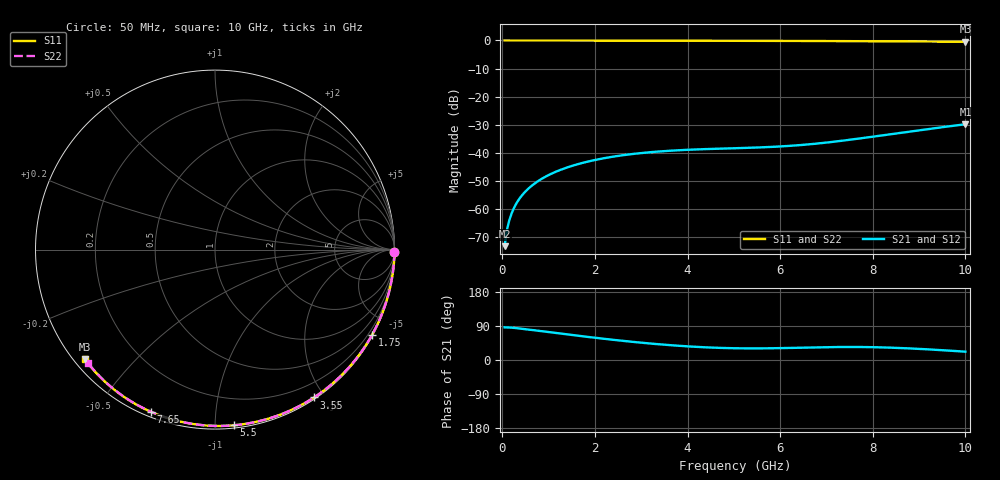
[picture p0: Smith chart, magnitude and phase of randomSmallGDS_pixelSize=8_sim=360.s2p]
! freq	dB(S11)	phase(S11)	dB(S12)	phase(S12)
!  dB(S21)	phase(S21)	dB(S22)	phase(S22)
!S-par simulation data
#  GHz  S  DB  R 50
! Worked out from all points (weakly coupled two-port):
!   200 points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, 50 MHz to 10 GHz, reference 50 ohm
!   highest |S21| = -29.88 dB at 10 GHz (marker M1); lowest = -73.3 dB at 50 MHz (marker M2)
!   lowest |S11| = -0.5 dB at 10 GHz (marker M3), VSWR 37.57, Z = 1.51 - j18.2 ohm
!   |S11| at or under -10 dB: nowhere
!   |S22| runs from -0.5 to 0.0 dB; largest |S21 - S12| = 0
!   S11 on the Smith chart (normalised r, x): 50 MHz: open; 1.75 GHz: 0.03, -3.95; 3.55 GHz: 0.02, -1.87; 5.5 GHz: 0.02, -1.11; 7.65 GHz: 0.02, -0.68; 10 GHz: 0.03, -0.36
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0.05  -0.00 -0.8  -73.34 86.1  -73.34 86.1  -0.00 -0.8
0.1  -0.00 -1.7  -67.59 85.9  -67.59 85.9  -0.00 -1.6
0.15  -0.00 -2.5  -64.17 85.7  -64.17 85.7  -0.00 -2.4
0.2  -0.00 -3.3  -61.71 85.3  -61.71 85.3  -0.00 -3.3
0.25  -0.00 -4.1  -59.79 84.8  -59.79 84.8  -0.00 -4.1
0.35  -0.00 -5.8  -56.90 83.5  -56.90 83.5  -0.00 -5.7
0.5  -0.01 -8.2  -53.84 81.3  -53.84 81.3  -0.01 -8.1
0.7  -0.01 -11.5  -50.98 78.3  -50.98 78.3  -0.01 -11.3
1  -0.02 -16.4  -47.99 73.7  -47.99 73.7  -0.02 -16.2
1.35  -0.03 -22.0  -45.56 68.3  -45.56 68.3  -0.03 -21.7
1.75  -0.04 -28.4  -43.58 62.3  -43.58 62.3  -0.04 -28.0
2.5  -0.05 -40.2  -41.16 51.9  -41.16 51.9  -0.05 -39.7
3.4  -0.07 -53.9  -39.56 41.3  -39.56 41.3  -0.07 -53.2
3.55  -0.08 -56.2  -39.39 39.8  -39.39 39.8  -0.07 -55.4
4.3  -0.09 -67.1  -38.78 34.0  -38.78 34.0  -0.09 -66.2
5.05  -0.12 -77.7  -38.41 31.0  -38.41 31.0  -0.12 -76.7
5.5  -0.13 -83.9  -38.17 30.6  -38.17 30.6  -0.13 -82.8
6.7  -0.19 -99.7  -36.91 33.2  -36.91 33.2  -0.19 -98.4
7.65  -0.25 -111.7  -35.09 34.4  -35.09 34.4  -0.25 -110.2
8.35  -0.30 -120.2  -33.50 32.7  -33.50 32.7  -0.30 -118.7
9.2  -0.38 -130.4  -31.58 28.0  -31.58 28.0  -0.37 -128.8
10  -0.46 -140.0  -29.88 22.0  -29.88 22.0  -0.46 -138.2
